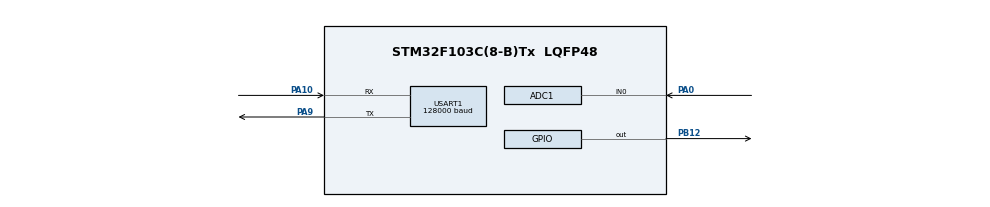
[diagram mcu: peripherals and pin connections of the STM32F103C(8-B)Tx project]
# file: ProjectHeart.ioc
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ADC1.Channel-0\#ChannelRegularConversion=ADC_CHANNEL_0
ADC1.ContinuousConvMode=ENABLE
ADC1.NbrOfConversion=1
ADC1.NbrOfConversionFlag=1
ADC1.Rank-0\#ChannelRegularConversion=1
ADC1.SamplingTime-0\#ChannelRegularConversion=ADC_SAMPLETIME_1CYCLE_5
ADC1.master=1
Mcu.Family=STM32F1
Mcu.Name=STM32F103C(8-B)Tx
Mcu.Package=LQFP48
NVIC.ADC1_2_IRQn=true\:0\:0\:false\:false\:true\:true\:true
NVIC.PriorityGroup=NVIC_PRIORITYGROUP_4
NVIC.TIM4_IRQn=true\:0\:0\:false\:false\:true\:true\:true
NVIC.USART1_IRQn=true\:0\:0\:false\:false\:true\:true\:true
PA0-WKUP.Signal=ADCx_IN0
PA10.Mode=Asynchronous
PA10.Signal=USART1_RX
PA9.Mode=Asynchronous
PA9.Signal=USART1_TX
PB12.Signal=GPIO_Output
ProjectManager.HeapSize=0x200
ProjectManager.StackSize=0x400
ProjectManager.TargetToolchain=MDK-ARM V5.27
RCC.APB1Freq_Value=8000000
RCC.APB2Freq_Value=8000000
SH.ADCx_IN0.0=ADC1_IN0,IN0
TIM4.Prescaler=8-1
USART1.BaudRate=128000
USART1.VirtualMode=VM_ASYNC
VP_SYS_VS_ND.Mode=No_Debug
VP_TIM4_VS_ClockSourceINT.Mode=Internal
board=custom

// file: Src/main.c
/* USER CODE BEGIN Header */
/**
  ******************************************************************************
  * @file           : main.c
  * @brief          : Main program body
  ******************************************************************************
  * @attention
  *
  * <h2><center>&copy; Copyright (c) 2020 STMicroelectronics.
  * All rights reserved.</center></h2>
  *
  * This software component is licensed by ST under BSD 3-Clause license,
  * the "License"; You may not use this file except in compliance with the
  * License. You may obtain a copy of the License at:
  *                        opensource.org/licenses/BSD-3-Clause
  *
  ******************************************************************************
  */
/* USER CODE END Header */

#include "main.h"

/* USER CODE BEGIN Includes */
#include "string.h"
#include "stdio.h"
#include "time.h"

/* USER CODE END Includes */

ADC_HandleTypeDef hadc1;

TIM_HandleTypeDef htim4;

UART_HandleTypeDef huart1;

void SystemClock_Config(void);
static void MX_GPIO_Init(void);
static void MX_ADC1_Init(void);
static void MX_USART1_UART_Init(void);
static void MX_TIM4_Init(void);

/* USER CODE BEGIN 0 */
uint32_t ADC_Data;
int i  =0 ;
char Buffer[100];
int samplingrate ;
int samplespersec;
int startSampling=0 ;
char s [] ="";
char ss [100] ;
int ticks = 0 ;
int stop =0 ;
int threshold =3000;
int belowThreshold=1;
int bpm =0 ;
int period = 60 ;
int cnt =0 ;

void checkBPM(uint32_t adcResult)
{
		if(belowThreshold && adcResult>threshold) // wait untill new beat reaches threshold
			{
				bpm ++;
				belowThreshold=0; //to only  count once
			}
			else
			if(adcResult<threshold) //if fell below 2 then this is a new beat
			{
				belowThreshold=1;
			}

}

void tickInit ()
{
	SystemCoreClockUpdate();
	SysTick_Config(SystemCoreClock/samplespersec) ;//1 msec delay between 2 successive interrupts

}

void minuteDone()
{
			sprintf(Buffer, "Count = %d\r\n", i);
		  HAL_UART_Transmit(&huart1,(uint8_t *)&Buffer,strlen(Buffer),10);
	    sprintf(Buffer, "BPM= %d\r\n",bpm);
		  HAL_UART_Transmit(&huart1,(uint8_t *)&Buffer,strlen(Buffer),10);
			stop = 1;
	    HAL_ADC_Stop (&hadc1);
			startSampling=0 ;
	    cnt =0 ;
}

void takeSample()
{

	ADC_Data= HAL_ADC_GetValue(&hadc1);

	sprintf(Buffer, "%d\r\n", ADC_Data);

  HAL_UART_Transmit(&huart1,(uint8_t *)&Buffer,strlen(Buffer),10);

	i++;

	 checkBPM(ADC_Data);

}

void HAL_IncTick(void)
{
	if (startSampling)
	{
		ticks++ ;

		  if (stop == 0)
				takeSample();

			if ((ticks >= period*samplespersec) && (stop == 0)) //if a minute has passed
				minuteDone();
	}

}

void HAL_UART_RxCpltCallback (UART_HandleTypeDef * huart)
{
	//DARMSTM.DLL-pSTM32F103C8
	HAL_UART_Receive_IT (&huart1,(uint8_t *) s , sizeof(s));

	if (strcmp (s , "\r") == 0)
	{
		cnt++;
		if (cnt == 2)
		{
			stop = 0;
			i  =0 ;
			ticks = 0 ;
			belowThreshold=1;
			bpm =0 ;

			int c = -1 ;
			sscanf(ss, "%d", &c);

			if (c > 1000)
				samplespersec = 1000;
			else
				samplespersec = c ;

			startSampling =1 ;
			//samplingrate = 1000 / samplespersec ; // samplespersec ---> 1000msec then 1 smaple ---> ?

			tickInit ();

			HAL_ADC_Start(&hadc1);
			memset (ss , 0 , sizeof (ss));
	}
		else
			if (cnt == 1)
			{
					int c = -1 ;
			    sscanf(ss, "%d", &c);
				if (c > 0)
					period = c ;
				else
					c = 60 ;
			  	memset (ss , 0 , sizeof (ss));
			}

	}
	else
	{
		strcat (ss, s);
	}

}

/* USER CODE END 0 */

int main(void)
{

  /* MCU Configuration--------------------------------------------------------*/

  /* Reset of all peripherals, Initializes the Flash interface and the Systick. */
  HAL_Init();

  /* Configure the system clock */
  SystemClock_Config();

  /* Initialize all configured peripherals */
  MX_GPIO_Init();
  MX_ADC1_Init();
  MX_USART1_UART_Init();
  MX_TIM4_Init();
  /* USER CODE BEGIN 2 */
	HAL_UART_Receive_IT (&huart1,(uint8_t *) s , sizeof(s));

  /* USER CODE END 2 */

  /* Infinite loop */
  while (1)
  {

  }
}

void SystemClock_Config(void)
{
  RCC_OscInitTypeDef RCC_OscInitStruct = {0};
  RCC_ClkInitTypeDef RCC_ClkInitStruct = {0};
  RCC_PeriphCLKInitTypeDef PeriphClkInit = {0};

  /** Initializes the CPU, AHB and APB busses clocks
  */
  RCC_OscInitStruct.OscillatorType = RCC_OSCILLATORTYPE_HSI;
  RCC_OscInitStruct.HSIState = RCC_HSI_ON;
  RCC_OscInitStruct.HSICalibrationValue = RCC_HSICALIBRATION_DEFAULT;
  RCC_OscInitStruct.PLL.PLLState = RCC_PLL_NONE;
  if (HAL_RCC_OscConfig(&RCC_OscInitStruct) != HAL_OK)
  {
    Error_Handler();
  }
  /** Initializes the CPU, AHB and APB busses clocks
  */
  RCC_ClkInitStruct.ClockType = RCC_CLOCKTYPE_HCLK|RCC_CLOCKTYPE_SYSCLK
                              |RCC_CLOCKTYPE_PCLK1|RCC_CLOCKTYPE_PCLK2;
  RCC_ClkInitStruct.SYSCLKSource = RCC_SYSCLKSOURCE_HSI;
  RCC_ClkInitStruct.AHBCLKDivider = RCC_SYSCLK_DIV1;
  RCC_ClkInitStruct.APB1CLKDivider = RCC_HCLK_DIV1;
  RCC_ClkInitStruct.APB2CLKDivider = RCC_HCLK_DIV1;

  if (HAL_RCC_ClockConfig(&RCC_ClkInitStruct, FLASH_LATENCY_0) != HAL_OK)
  {
    Error_Handler();
  }
  PeriphClkInit.PeriphClockSelection = RCC_PERIPHCLK_ADC;
  PeriphClkInit.AdcClockSelection = RCC_ADCPCLK2_DIV2;
  if (HAL_RCCEx_PeriphCLKConfig(&PeriphClkInit) != HAL_OK)
  {
    Error_Handler();
  }
}

static void MX_ADC1_Init(void)
{

  ADC_ChannelConfTypeDef sConfig = {0};

  /** Common config
  */
  hadc1.Instance = ADC1;
  hadc1.Init.ScanConvMode = ADC_SCAN_DISABLE;
  hadc1.Init.ContinuousConvMode = ENABLE;
  hadc1.Init.DiscontinuousConvMode = DISABLE;
  hadc1.Init.ExternalTrigConv = ADC_SOFTWARE_START;
  hadc1.Init.DataAlign = ADC_DATAALIGN_RIGHT;
  hadc1.Init.NbrOfConversion = 1;
  if (HAL_ADC_Init(&hadc1) != HAL_OK)
  {
    Error_Handler();
  }
  /** Configure Regular Channel
  */
  sConfig.Channel = ADC_CHANNEL_0;
  sConfig.Rank = ADC_REGULAR_RANK_1;
  sConfig.SamplingTime = ADC_SAMPLETIME_1CYCLE_5;
  if (HAL_ADC_ConfigChannel(&hadc1, &sConfig) != HAL_OK)
  {
    Error_Handler();
  }

}

static void MX_TIM4_Init(void)
{

  TIM_ClockConfigTypeDef sClockSourceConfig = {0};
  TIM_MasterConfigTypeDef sMasterConfig = {0};

  htim4.Instance = TIM4;
  htim4.Init.Prescaler = 8-1;
  htim4.Init.CounterMode = TIM_COUNTERMODE_UP;
  htim4.Init.Period = 0;
  htim4.Init.ClockDivision = TIM_CLOCKDIVISION_DIV1;
  htim4.Init.AutoReloadPreload = TIM_AUTORELOAD_PRELOAD_DISABLE;
  if (HAL_TIM_Base_Init(&htim4) != HAL_OK)
  {
    Error_Handler();
  }
  sClockSourceConfig.ClockSource = TIM_CLOCKSOURCE_INTERNAL;
  if (HAL_TIM_ConfigClockSource(&htim4, &sClockSourceConfig) != HAL_OK)
  {
    Error_Handler();
  }
  sMasterConfig.MasterOutputTrigger = TIM_TRGO_RESET;
  sMasterConfig.MasterSlaveMode = TIM_MASTERSLAVEMODE_DISABLE;
  if (HAL_TIMEx_MasterConfigSynchronization(&htim4, &sMasterConfig) != HAL_OK)
  {
    Error_Handler();
  }

}

static void MX_USART1_UART_Init(void)
{

  huart1.Instance = USART1;
  huart1.Init.BaudRate = 128000;
  huart1.Init.WordLength = UART_WORDLENGTH_8B;
  huart1.Init.StopBits = UART_STOPBITS_1;
  huart1.Init.Parity = UART_PARITY_NONE;
  huart1.Init.Mode = UART_MODE_TX_RX;
  huart1.Init.HwFlowCtl = UART_HWCONTROL_NONE;
  huart1.Init.OverSampling = UART_OVERSAMPLING_16;
  if (HAL_UART_Init(&huart1) != HAL_OK)
  {
    Error_Handler();
  }

}

static void MX_GPIO_Init(void)
{
  GPIO_InitTypeDef GPIO_InitStruct = {0};

  /* GPIO Ports Clock Enable */
  __HAL_RCC_GPIOA_CLK_ENABLE();
  __HAL_RCC_GPIOB_CLK_ENABLE();

  /*Configure GPIO pin Output Level */
  HAL_GPIO_WritePin(GPIOB, GPIO_PIN_12, GPIO_PIN_RESET);

  /*Configure GPIO pin : PB12 */
  GPIO_InitStruct.Pin = GPIO_PIN_12;
  GPIO_InitStruct.Mode = GPIO_MODE_OUTPUT_PP;
  GPIO_InitStruct.Pull = GPIO_NOPULL;
  GPIO_InitStruct.Speed = GPIO_SPEED_FREQ_LOW;
  HAL_GPIO_Init(GPIOB, &GPIO_InitStruct);

}

void Error_Handler(void)
{
}

/************************ (C) COPYRIGHT STMicroelectronics *****END OF FILE****/
